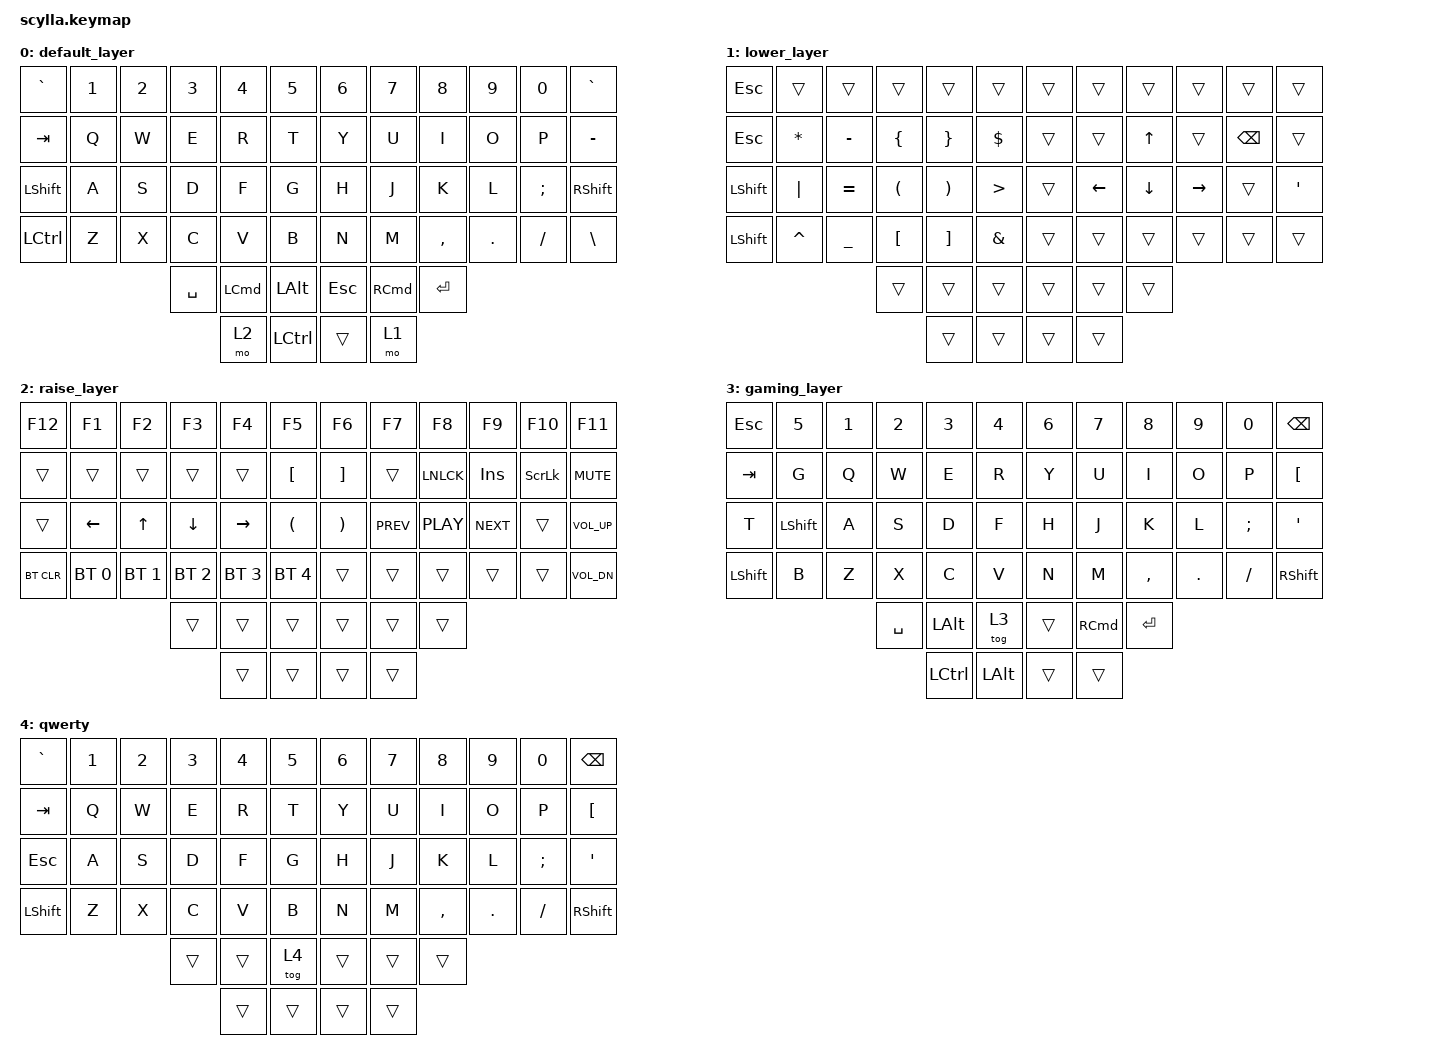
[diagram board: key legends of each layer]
#include <behaviors.dtsi>
#include <dt-bindings/zmk/keys.h>
#include <dt-bindings/zmk/bt.h>


/ {
	keymap {
		compatible = "zmk,keymap";

		default_layer {
// ------------------------------------------------------------------------------------------------------------
// |   `   |  1  |  2  |  3   |  4   |  5   |                   |  6   |  7    |     8      |  9      |   0    |  BKSP |
// |  TAB  |  Q  |  W  |  F   |  P   |  B   |                   |  J   |  L    |     U      |  Y      |   ;    |   [   |
// |  ESC  |  A  |  R  |  S   |  T   |  G   |                   |  M   |  N    |     E      |  I      |   O    |   '   |
// | SHIFT |  Z  |  X  |  C   |  D   |  V   |                   |  K   |  H    |     ,      |  .      |   /    | SHIFT |
//                     | LOWR | SPACE| RCMD |                   | ENTR | BSPC  |   RAISE    |
//                            | CTRL | ALT  |                   | CTRL | ALT   | 
			bindings = <
&kp GRAVE  &kp N1    &kp N2   &kp N3    &kp N4    &kp N5          &kp N6    &kp N7    &kp N8    &kp N9    &kp N0   &kp GRAVE
&kp TAB    &kp Q     &kp W    &kp E     &kp R     &kp T           &kp Y     &kp U     &kp I     &kp O     &kp P    &kp MINUS
&kp LSHIFT &kp A     &kp S    &kp D     &kp F     &kp G           &kp H     &kp J     &kp K     &kp L     &kp SEMI &kp RSHIFT
&kp LCTRL  &kp Z     &kp X    &kp C     &kp V     &kp B           &kp N     &kp M     &kp COMMA &kp DOT   &kp FSLH &kp BSLH
                              &kp SPACE &kp LCMD  &kp LALT        &kp ESC   &kp RCMD  &kp ENTER
                                        &mo 2     &kp LCTRL       &trans    &mo 1
			>;
		};
        
		lower_layer {
// ------------------------------------------------------------------------------------------------------------
// | TILDE |  !   |  @    |  #    |  $   |  %   |                   |  ^   |  &    |  *    |  (   |   )   |  DEL  |
// |       |      |       |       |      |  [   |                   |  ]   |  7    |  8    |  9   |       |   +   |
// |       | HOME | PG UP | PG DN | END  |  (   |                   |  )   |  4    |  5    |  6   |   -   |  "|"  |
// |       |      |       |       | CLMK |GAME_L|                   |      |  1    |  2    |  3   |   =   |   _   |
//                        |  SPCE | BKSP |      |                   |      | RCMD  | ENTR  |
//                                | CTRL | ALT  |                   |      |       | 

			bindings = <
&kp ESC    &trans    &trans    &trans    &trans    &trans                    &trans    &trans     &trans   &trans    &trans   &trans
&kp ESC    &kp STAR  &kp MINUS &kp LBRC  &kp RBRC  &kp DLLR                  &trans    &trans     &kp UP   &trans    &kp BSPC &trans
&kp LSHIFT &kp PIPE  &kp EQUAL &kp LPAR  &kp RPAR  &kp GT                    &trans    &kp LEFT   &kp DOWN &kp RIGHT &trans   &kp SQT
&kp LSHIFT &kp CARET &kp UNDER &kp LBKT  &kp RBKT  &kp AMPS                  &trans    &trans     &trans   &trans    &trans   &trans
                               &trans    &trans    &trans                    &trans    &trans     &trans 
                                         &trans    &trans                    &trans    &trans
            >;
        };

		raise_layer {
// ------------------------------------------------------------------------------------------------------------
// | F12    |  F1      |  F2       |   F3     |  F4      |  F5      |                    |  F6  |  F7  |     F8   |  F9   |   F10    |  F11   | 
// |        |          |           |          |          |  [       |                    |  ]   |      | NUM LOCK |  INS  | SCL LOCK |  MUTE  |
// |        | LEFT     |  UP       | DOWN     | RIGHT    |  (       |                    |  )   | PREV | PLAY     | NEXT  |          | VOL UP |
// | BT CLR | BT SEL 0 | BT SEL 1  | BT SEL 2 | BT SEL 3 | BT SEL 4 |                    |      |      |          |       |          | VOL DN |
//                                 |  SPCE    | BKSP     |          |                    |      | RCMD | ENTR     |
//                                            | CTRL     | ALT      |                    |      |      | 
          
            bindings = <
&kp F12    &kp F1       &kp F2       &kp F3       &kp F4       &kp F5                    &kp F6    &kp F7     &kp F8     &kp F9     &kp F10   &kp F11
&trans     &trans       &trans       &trans       &trans       &kp LBKT                  &kp RBKT  &trans     &kp LNLCK  &kp INS    &kp SLCK  &kp K_MUTE
&trans     &kp LEFT     &kp UP       &kp DOWN     &kp RIGHT    &kp LPAR                  &kp RPAR  &kp K_PREV &kp C_PLAY &kp K_NEXT &trans    &kp K_VOL_UP 
&bt BT_CLR &bt BT_SEL 0 &bt BT_SEL 1 &bt BT_SEL 2 &bt BT_SEL 3 &bt BT_SEL 4              &trans    &trans     &trans     &trans     &trans    &kp K_VOL_DN
                                     &trans       &trans       &trans                    &trans    &trans    &trans 
                                                  &trans       &trans                    &trans    &trans
            >;
        };

        gaming_layer {
// ------------------------------------------------------------------------------------------------------------
// |  ESC  |  5  |  1  |  2  |  3    |  4   |                   |  6   |  7    |  8    |  9   |   0   |  BKSP |
// |  TAB  |  G  |  Q  |  W   |  E   |  R   |                   |  Y   |  U    |  I    |  O   |   P   |   [   |
// |   T   |SHIFT|  A  |  S   |  D   |  F   |                   |  H   |  J    |  K    |  L   |   ;   |   '   |
// | SHIFT |CTRL |  Z  |  X   |  C   |  V   |                   |  N   |  M    |  ,    |  .   |   /   | SHIFT |
//                     | SPCE | BKSP |      |                   |      | RCMD  | ENTR  |
//                            | CTRL | ALT  |                   |      |       | 
			bindings = <
&kp ESC   &kp N5    &kp N1  &kp N2    &kp N3    &kp N4           &kp N6    &kp N7    &kp N8    &kp N9    &kp N0   &kp BSPC
&kp TAB   &kp G     &kp Q   &kp W     &kp E     &kp R            &kp Y     &kp U     &kp I     &kp O     &kp P    &kp LBKT
&kp T     &kp LSHFT &kp A   &kp S     &kp D     &kp F            &kp H     &kp J     &kp K     &kp L     &kp SEMI &kp SQT
&kp LSHFT &kp B     &kp Z   &kp X     &kp C     &kp V            &kp N     &kp M     &kp COMMA &kp DOT   &kp FSLH &kp RSHFT
                            &kp SPACE &kp LALT  &tog 3           &trans    &kp RCMD  &kp ENTER 
                                      &kp LCTRL &kp LALT         &trans    &trans
			>;
		};

		qwerty {
// ------------------------------------------------------------------------------------------------------------
// |   `   |  1  |  2  |  3   |  4   |  5   |                   |  6   |  7    |     8      |  9      |   0    |  BKSP |
// |  TAB  |  Q  |  W  |  E   |  R   |  T   |                   |  Y   |  U    |     I      |  O      |   P    |   [   |
// |  ESC  |  A  |  S  |  D   |  F   |  G   |                   |  H   |  J    |     K      |  L      |   ;    |   '   |
// | SHIFT |  Z  |  X  |  C   |  V   |  B   |                   |  N   |  M    |     ,      |  .      |   /    | SHIFT |
//                     | SPCE | BKSP | LOWR |                   | RAISE| RCMD  |    ENTR    |
//                            | CTRL | ALT  |                   | CTRL | ALT | 
			bindings = <
&kp GRAVE &kp N1    &kp N2   &kp N3    &kp N4    &kp N5          &kp N6  &kp N7    &kp N8    &kp N9    &kp N0   &kp BSPC
&kp TAB   &kp Q     &kp W    &kp E     &kp R     &kp T           &kp Y   &kp U     &kp I     &kp O     &kp P    &kp LBKT
&kp ESC   &kp A     &kp S    &kp D     &kp F     &kp G           &kp H   &kp J     &kp K     &kp L     &kp SEMI &kp SQT
&kp LSHFT &kp Z     &kp X    &kp C     &kp V     &kp B           &kp N   &kp M     &kp COMMA &kp DOT   &kp FSLH &kp RSHFT
                             &trans    &trans    &tog 4          &trans    &trans    &trans 
                                       &trans    &trans          &trans    &trans 
			>;
		};
	};
};
